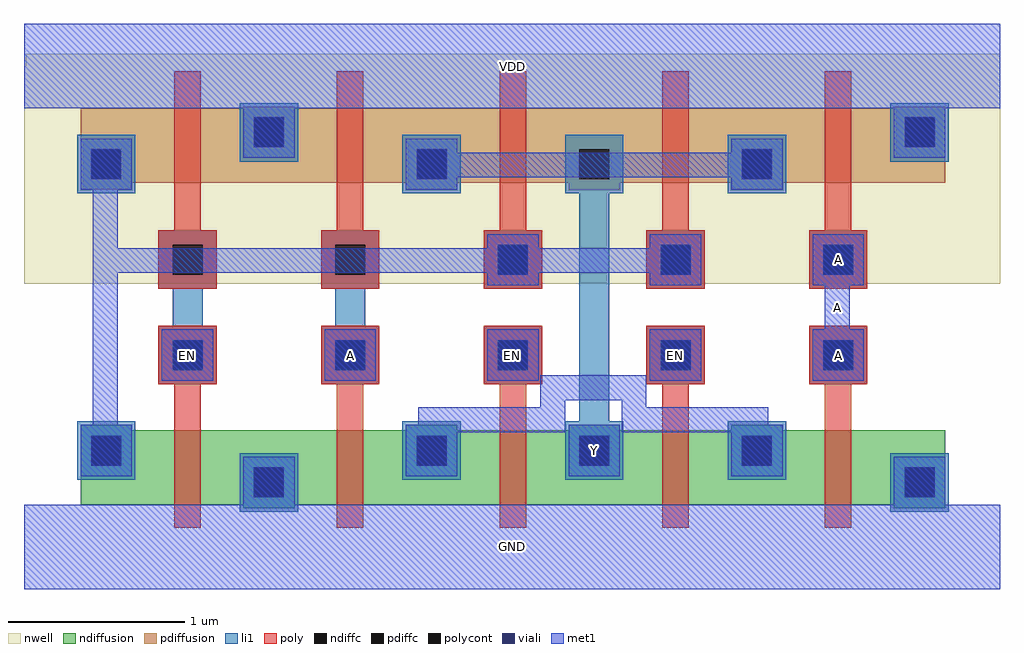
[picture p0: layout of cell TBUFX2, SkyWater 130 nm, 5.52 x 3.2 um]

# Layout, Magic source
magic
# Generated by librecell
tech sky130A
<< nwell >>
rect 0 149 552 272
rect 1 272 552 279
<< viali >>
rect 130 28 147 45
rect 498 28 515 45
rect 38 46 55 63
rect 222 46 239 63
rect 314 46 331 63
rect 406 46 423 63
rect 84 100 101 117
rect 176 100 193 117
rect 268 100 285 117
rect 360 100 377 117
rect 452 100 469 117
rect 268 154 285 171
rect 360 154 377 171
rect 452 154 469 171
rect 38 208 55 225
rect 222 208 239 225
rect 406 208 423 225
rect 130 226 147 243
rect 498 226 515 243
<< poly >>
rect 85 11 100 92
rect 76 92 109 125
rect 177 11 192 92
rect 168 92 201 125
rect 269 11 284 92
rect 260 92 293 125
rect 361 11 376 92
rect 352 92 385 125
rect 453 11 468 92
rect 444 92 477 125
rect 76 146 109 179
rect 85 179 100 269
rect 168 146 201 179
rect 177 179 192 269
rect 260 146 293 179
rect 269 179 284 269
rect 352 146 385 179
rect 361 179 376 269
rect 444 146 477 179
rect 453 179 468 269
<< properties >>
string FIXED_BBOX 0 0 552 272
<< li1 >>
rect 122 20 155 53
rect 490 20 523 53
rect 30 38 63 71
rect 214 38 247 71
rect 398 38 431 71
rect 260 92 293 125
rect 352 92 385 125
rect 444 92 477 125
rect 76 92 109 125
rect 84 125 101 146
rect 76 146 109 179
rect 168 92 201 125
rect 176 125 193 146
rect 168 146 201 179
rect 260 146 293 179
rect 352 146 385 179
rect 444 146 477 179
rect 30 200 63 233
rect 214 200 247 233
rect 306 38 339 71
rect 314 71 331 200
rect 306 200 339 233
rect 398 200 431 233
rect 122 218 155 251
rect 490 218 523 251
<< met1 >>
rect 0 -24 552 24
rect 124 24 153 51
rect 492 24 521 51
rect 308 40 337 69
rect 216 40 245 65
rect 400 40 429 65
rect 216 65 306 69
rect 338 65 429 69
rect 223 69 306 79
rect 338 69 421 79
rect 292 79 306 83
rect 338 79 352 83
rect 292 83 352 97
rect 78 94 107 123
rect 170 94 199 123
rect 262 94 291 123
rect 354 94 383 123
rect 446 94 475 123
rect 453 123 467 148
rect 446 148 475 177
rect 32 40 61 69
rect 39 69 53 155
rect 262 148 291 155
rect 354 148 383 155
rect 39 155 383 169
rect 262 169 291 177
rect 354 169 383 177
rect 39 169 53 202
rect 32 202 61 231
rect 216 202 245 209
rect 400 202 429 209
rect 216 209 429 223
rect 216 223 245 231
rect 400 223 429 231
rect 124 220 153 248
rect 492 220 521 248
rect 0 248 552 296
<< li1 >>
<< met1 >>
<< li1 >>
<< met1 >>
rect 0 -24 552 24
rect 308 40 337 69
rect 170 94 199 123
rect 354 94 383 123
rect 0 248 552 296
<< ndiffusion >>
rect 124 22 153 24
rect 492 22 521 24
rect 32 24 521 66
rect 32 66 61 69
rect 216 66 245 69
rect 308 66 337 69
rect 400 66 429 69
<< pdiffusion >>
rect 32 202 61 206
rect 216 202 245 206
rect 308 202 337 206
rect 400 202 429 206
rect 32 206 521 248
rect 124 248 153 249
rect 492 248 521 249
<< polycont >>
rect 84 100 101 117
rect 176 100 193 117
rect 268 100 285 117
rect 360 100 377 117
rect 452 100 469 117
rect 84 154 101 171
rect 176 154 193 171
rect 268 154 285 171
rect 360 154 377 171
rect 452 154 469 171
<< pdiffc >>
rect 38 208 55 225
rect 222 208 239 225
rect 314 208 331 225
rect 406 208 423 225
rect 130 226 147 243
rect 498 226 515 243
<< ndiffc >>
rect 130 28 147 45
rect 498 28 515 45
rect 38 46 55 63
rect 222 46 239 63
rect 314 46 331 63
rect 406 46 423 63
<< labels >>
rlabel metal2 0 248 552 296 0 VDD
port 1 se
rlabel metal2 0 -24 552 24 0 GND
port 2 se
rlabel metal2 308 40 337 69 0 Y
port 3 se
rlabel metal2 446 94 475 123 0 A
port 4 se
rlabel metal2 453 123 467 148 0 A
port 5 se
rlabel metal2 446 148 475 177 0 A
port 6 se
rlabel metal2 170 94 199 123 0 A
port 7 se
rlabel metal2 78 94 107 123 0 EN
port 8 se
rlabel metal2 262 94 291 123 0 EN
port 9 se
rlabel metal2 354 94 383 123 0 EN
port 10 se
<< end >>
